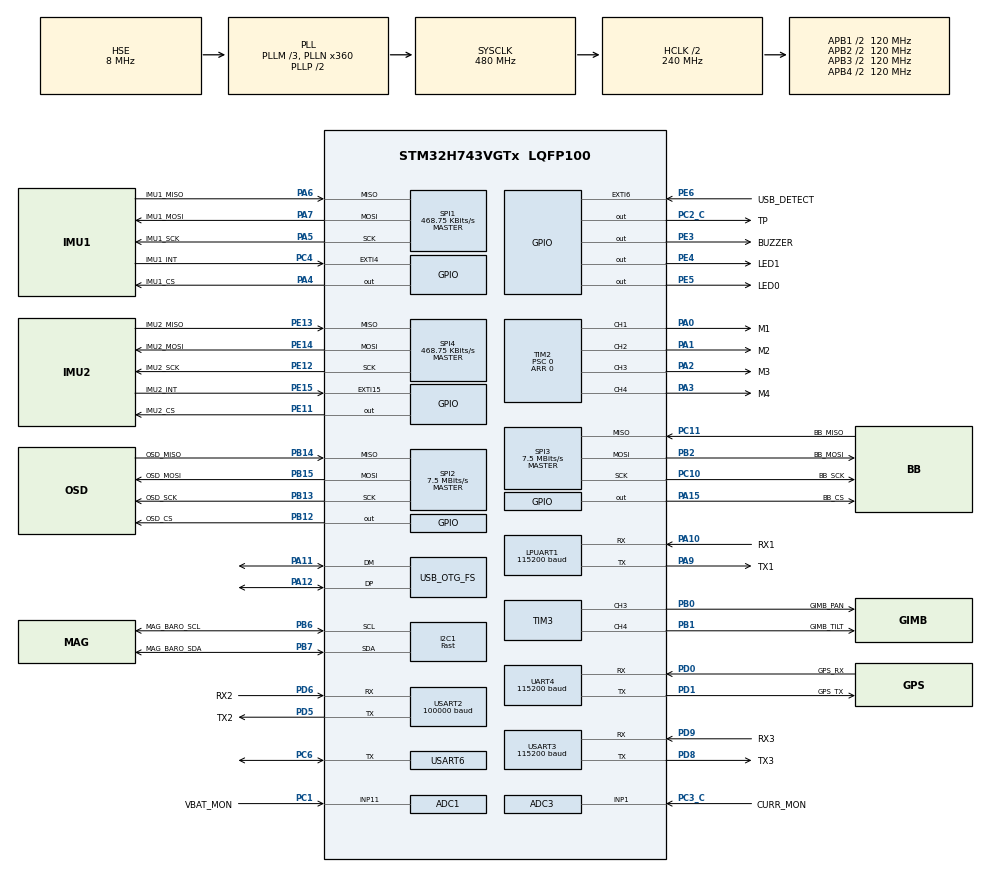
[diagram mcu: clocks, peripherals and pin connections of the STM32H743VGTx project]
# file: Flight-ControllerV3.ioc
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ADC1.Channel-1\#ChannelRegularConversion=ADC_CHANNEL_11
ADC1.ContinuousConvMode=DISABLE
ADC1.ExternalTrigConv=ADC_EXTERNALTRIG_T15_TRGO
ADC1.NbrOfConversionFlag=1
ADC1.OffsetNumber-1\#ChannelRegularConversion=ADC_OFFSET_NONE
ADC1.OffsetSignedSaturation-1\#ChannelRegularConversion=DISABLE
ADC1.Rank-1\#ChannelRegularConversion=1
ADC1.SamplingTime-1\#ChannelRegularConversion=ADC_SAMPLETIME_387CYCLES_5
ADC1.master=1
ADC3.Channel-0\#ChannelRegularConversion=ADC_CHANNEL_1
ADC3.ClockPrescalerADC3=ADC_CLOCK_ASYNC_DIV1
ADC3.ContinuousConvMode=DISABLE
ADC3.ConversionDataManagement=ADC_CONVERSIONDATA_DMA_CIRCULAR
ADC3.ExternalTrigConv=ADC_EXTERNALTRIG_T6_TRGO
ADC3.ExternalTrigConvEdge=ADC_EXTERNALTRIGCONVEDGE_RISING
ADC3.InjectedDiscontinuousConvMode-ADC_Injected_ConversionMode=ENABLE
ADC3.NbrOfConversion=1
ADC3.NbrOfConversionFlag=1
ADC3.OffsetNumber-0\#ChannelRegularConversion=ADC_OFFSET_NONE
ADC3.OffsetSignedSaturation-0\#ChannelRegularConversion=DISABLE
ADC3.Rank-0\#ChannelRegularConversion=1
ADC3.SamplingTime-0\#ChannelRegularConversion=ADC_SAMPLETIME_387CYCLES_5
Bdma.ADC3.0.Direction=DMA_PERIPH_TO_MEMORY
Bdma.ADC3.0.EventEnable=DISABLE
Bdma.ADC3.0.Instance=BDMA_Channel0
Bdma.ADC3.0.MemDataAlignment=DMA_MDATAALIGN_WORD
Bdma.ADC3.0.MemInc=DMA_MINC_ENABLE
Bdma.ADC3.0.Mode=DMA_CIRCULAR
Bdma.ADC3.0.PeriphDataAlignment=DMA_PDATAALIGN_WORD
Bdma.ADC3.0.PeriphInc=DMA_PINC_DISABLE
Bdma.ADC3.0.Polarity=HAL_DMAMUX_REQ_GEN_RISING
Bdma.ADC3.0.Priority=DMA_PRIORITY_HIGH
Bdma.ADC3.0.RequestNumber=1
Bdma.ADC3.0.SignalID=NONE
Bdma.ADC3.0.SyncEnable=DISABLE
Bdma.ADC3.0.SyncPolarity=HAL_DMAMUX_SYNC_NO_EVENT
Bdma.ADC3.0.SyncRequestNumber=1
Bdma.ADC3.0.SyncSignalID=NONE
Bdma.Request0=ADC3
Bdma.RequestsNb=1
Dma.Request0=TIM2_CH1
Dma.Request1=TIM2_CH2
Dma.Request2=TIM2_CH3
Dma.Request3=TIM2_CH4
Dma.Request4=UART4_TX
Dma.Request5=UART4_RX
Dma.Request6=USART3_TX
Dma.Request7=USART3_RX
Dma.TIM2_CH1.0.Direction=DMA_MEMORY_TO_PERIPH
Dma.TIM2_CH1.0.EventEnable=DISABLE
Dma.TIM2_CH1.0.FIFOMode=DMA_FIFOMODE_ENABLE
Dma.TIM2_CH1.0.FIFOThreshold=DMA_FIFO_THRESHOLD_1QUARTERFULL
Dma.TIM2_CH1.0.Instance=DMA1_Stream0
Dma.TIM2_CH1.0.MemBurst=DMA_MBURST_SINGLE
Dma.TIM2_CH1.0.MemDataAlignment=DMA_MDATAALIGN_WORD
Dma.TIM2_CH1.0.MemInc=DMA_MINC_ENABLE
Dma.TIM2_CH1.0.Mode=DMA_NORMAL
Dma.TIM2_CH1.0.PeriphBurst=DMA_PBURST_SINGLE
Dma.TIM2_CH1.0.PeriphDataAlignment=DMA_PDATAALIGN_WORD
Dma.TIM2_CH1.0.PeriphInc=DMA_PINC_DISABLE
Dma.TIM2_CH1.0.Polarity=HAL_DMAMUX_REQ_GEN_RISING
Dma.TIM2_CH1.0.Priority=DMA_PRIORITY_VERY_HIGH
Dma.TIM2_CH1.0.RequestNumber=1
Dma.TIM2_CH1.0.SignalID=NONE
Dma.TIM2_CH1.0.SyncEnable=DISABLE
Dma.TIM2_CH1.0.SyncPolarity=HAL_DMAMUX_SYNC_NO_EVENT
Dma.TIM2_CH1.0.SyncRequestNumber=1
Dma.TIM2_CH1.0.SyncSignalID=NONE
Dma.TIM2_CH2.1.Direction=DMA_MEMORY_TO_PERIPH
Dma.TIM2_CH2.1.EventEnable=DISABLE
Dma.TIM2_CH2.1.FIFOMode=DMA_FIFOMODE_ENABLE
Dma.TIM2_CH2.1.FIFOThreshold=DMA_FIFO_THRESHOLD_1QUARTERFULL
Dma.TIM2_CH2.1.Instance=DMA1_Stream1
Dma.TIM2_CH2.1.MemBurst=DMA_MBURST_SINGLE
Dma.TIM2_CH2.1.MemDataAlignment=DMA_MDATAALIGN_WORD
Dma.TIM2_CH2.1.MemInc=DMA_MINC_ENABLE
Dma.TIM2_CH2.1.Mode=DMA_NORMAL
Dma.TIM2_CH2.1.PeriphBurst=DMA_PBURST_SINGLE
Dma.TIM2_CH2.1.PeriphDataAlignment=DMA_PDATAALIGN_WORD
Dma.TIM2_CH2.1.PeriphInc=DMA_PINC_DISABLE
Dma.TIM2_CH2.1.Polarity=HAL_DMAMUX_REQ_GEN_RISING
Dma.TIM2_CH2.1.Priority=DMA_PRIORITY_VERY_HIGH
Dma.TIM2_CH2.1.RequestNumber=1
Dma.TIM2_CH2.1.SignalID=NONE
Dma.TIM2_CH2.1.SyncEnable=DISABLE
Dma.TIM2_CH2.1.SyncPolarity=HAL_DMAMUX_SYNC_NO_EVENT
Dma.TIM2_CH2.1.SyncRequestNumber=1
Dma.TIM2_CH2.1.SyncSignalID=NONE
Dma.TIM2_CH3.2.Direction=DMA_MEMORY_TO_PERIPH
Dma.TIM2_CH3.2.EventEnable=DISABLE
Dma.TIM2_CH3.2.FIFOMode=DMA_FIFOMODE_ENABLE
Dma.TIM2_CH3.2.FIFOThreshold=DMA_FIFO_THRESHOLD_1QUARTERFULL
Dma.TIM2_CH3.2.Instance=DMA1_Stream2
Dma.TIM2_CH3.2.MemBurst=DMA_MBURST_SINGLE
Dma.TIM2_CH3.2.MemDataAlignment=DMA_MDATAALIGN_WORD
Dma.TIM2_CH3.2.MemInc=DMA_MINC_ENABLE
Dma.TIM2_CH3.2.Mode=DMA_NORMAL
Dma.TIM2_CH3.2.PeriphBurst=DMA_PBURST_SINGLE
Dma.TIM2_CH3.2.PeriphDataAlignment=DMA_PDATAALIGN_WORD
Dma.TIM2_CH3.2.PeriphInc=DMA_PINC_DISABLE
Dma.TIM2_CH3.2.Polarity=HAL_DMAMUX_REQ_GEN_RISING
Dma.TIM2_CH3.2.Priority=DMA_PRIORITY_VERY_HIGH
Dma.TIM2_CH3.2.RequestNumber=1
Dma.TIM2_CH3.2.SignalID=NONE
Dma.TIM2_CH3.2.SyncEnable=DISABLE
Dma.TIM2_CH3.2.SyncPolarity=HAL_DMAMUX_SYNC_NO_EVENT
Dma.TIM2_CH3.2.SyncRequestNumber=1
Dma.TIM2_CH3.2.SyncSignalID=NONE
Dma.TIM2_CH4.3.Direction=DMA_MEMORY_TO_PERIPH
Dma.TIM2_CH4.3.EventEnable=DISABLE
Dma.TIM2_CH4.3.FIFOMode=DMA_FIFOMODE_ENABLE
Dma.TIM2_CH4.3.FIFOThreshold=DMA_FIFO_THRESHOLD_1QUARTERFULL
Dma.TIM2_CH4.3.Instance=DMA1_Stream3
Dma.TIM2_CH4.3.MemBurst=DMA_MBURST_SINGLE
Dma.TIM2_CH4.3.MemDataAlignment=DMA_MDATAALIGN_WORD
Dma.TIM2_CH4.3.MemInc=DMA_MINC_ENABLE
Dma.TIM2_CH4.3.Mode=DMA_NORMAL
Dma.TIM2_CH4.3.PeriphBurst=DMA_PBURST_SINGLE
Dma.TIM2_CH4.3.PeriphDataAlignment=DMA_PDATAALIGN_WORD
Dma.TIM2_CH4.3.PeriphInc=DMA_PINC_DISABLE
Dma.TIM2_CH4.3.Polarity=HAL_DMAMUX_REQ_GEN_RISING
Dma.TIM2_CH4.3.Priority=DMA_PRIORITY_VERY_HIGH
Dma.TIM2_CH4.3.RequestNumber=1
Dma.TIM2_CH4.3.SignalID=NONE
Dma.TIM2_CH4.3.SyncEnable=DISABLE
Dma.TIM2_CH4.3.SyncPolarity=HAL_DMAMUX_SYNC_NO_EVENT
Dma.TIM2_CH4.3.SyncRequestNumber=1
Dma.TIM2_CH4.3.SyncSignalID=NONE
Dma.UART4_RX.5.Direction=DMA_PERIPH_TO_MEMORY
Dma.UART4_RX.5.EventEnable=DISABLE
Dma.UART4_RX.5.FIFOMode=DMA_FIFOMODE_DISABLE
Dma.UART4_RX.5.Instance=DMA1_Stream4
Dma.UART4_RX.5.MemDataAlignment=DMA_MDATAALIGN_BYTE
Dma.UART4_RX.5.MemInc=DMA_MINC_ENABLE
Dma.UART4_RX.5.Mode=DMA_NORMAL
Dma.UART4_RX.5.PeriphDataAlignment=DMA_PDATAALIGN_BYTE
Dma.UART4_RX.5.PeriphInc=DMA_PINC_DISABLE
Dma.UART4_RX.5.Polarity=HAL_DMAMUX_REQ_GEN_RISING
Dma.UART4_RX.5.Priority=DMA_PRIORITY_LOW
Dma.UART4_RX.5.RequestNumber=1
Dma.UART4_RX.5.SignalID=NONE
Dma.UART4_RX.5.SyncEnable=DISABLE
Dma.UART4_RX.5.SyncPolarity=HAL_DMAMUX_SYNC_NO_EVENT
Dma.UART4_RX.5.SyncRequestNumber=1
Dma.UART4_RX.5.SyncSignalID=NONE
Dma.UART4_TX.4.Direction=DMA_MEMORY_TO_PERIPH
Dma.UART4_TX.4.EventEnable=DISABLE
Dma.UART4_TX.4.FIFOMode=DMA_FIFOMODE_DISABLE
Dma.UART4_TX.4.Instance=DMA1_Stream5
Dma.UART4_TX.4.MemDataAlignment=DMA_MDATAALIGN_BYTE
Dma.UART4_TX.4.MemInc=DMA_MINC_ENABLE
Dma.UART4_TX.4.Mode=DMA_NORMAL
Dma.UART4_TX.4.PeriphDataAlignment=DMA_PDATAALIGN_BYTE
Dma.UART4_TX.4.PeriphInc=DMA_PINC_DISABLE
Dma.UART4_TX.4.Polarity=HAL_DMAMUX_REQ_GEN_RISING
Dma.UART4_TX.4.Priority=DMA_PRIORITY_LOW
Dma.UART4_TX.4.RequestNumber=1
Dma.UART4_TX.4.SignalID=NONE
Dma.UART4_TX.4.SyncEnable=DISABLE
Dma.UART4_TX.4.SyncPolarity=HAL_DMAMUX_SYNC_NO_EVENT
Dma.UART4_TX.4.SyncRequestNumber=1
Dma.UART4_TX.4.SyncSignalID=NONE
Dma.USART3_RX.7.Direction=DMA_PERIPH_TO_MEMORY
Dma.USART3_RX.7.EventEnable=DISABLE
Dma.USART3_RX.7.FIFOMode=DMA_FIFOMODE_DISABLE
Dma.USART3_RX.7.Instance=DMA1_Stream7
Dma.USART3_RX.7.MemDataAlignment=DMA_MDATAALIGN_BYTE
Dma.USART3_RX.7.MemInc=DMA_MINC_ENABLE
Dma.USART3_RX.7.Mode=DMA_NORMAL
Dma.USART3_RX.7.PeriphDataAlignment=DMA_PDATAALIGN_BYTE
Dma.USART3_RX.7.PeriphInc=DMA_PINC_DISABLE
Dma.USART3_RX.7.Polarity=HAL_DMAMUX_REQ_GEN_RISING
Dma.USART3_RX.7.Priority=DMA_PRIORITY_VERY_HIGH
Dma.USART3_RX.7.RequestNumber=1
Dma.USART3_RX.7.SignalID=NONE
Dma.USART3_RX.7.SyncEnable=DISABLE
Dma.USART3_RX.7.SyncPolarity=HAL_DMAMUX_SYNC_NO_EVENT
Dma.USART3_RX.7.SyncRequestNumber=1
Dma.USART3_RX.7.SyncSignalID=NONE
Dma.USART3_TX.6.Direction=DMA_MEMORY_TO_PERIPH
Dma.USART3_TX.6.EventEnable=DISABLE
Dma.USART3_TX.6.FIFOMode=DMA_FIFOMODE_DISABLE
Dma.USART3_TX.6.Instance=DMA1_Stream6
Dma.USART3_TX.6.MemDataAlignment=DMA_MDATAALIGN_BYTE
Dma.USART3_TX.6.MemInc=DMA_MINC_ENABLE
Dma.USART3_TX.6.Mode=DMA_NORMAL
Dma.USART3_TX.6.PeriphDataAlignment=DMA_PDATAALIGN_BYTE
Dma.USART3_TX.6.PeriphInc=DMA_PINC_DISABLE
Dma.USART3_TX.6.Polarity=HAL_DMAMUX_REQ_GEN_RISING
Dma.USART3_TX.6.Priority=DMA_PRIORITY_VERY_HIGH
Dma.USART3_TX.6.RequestNumber=1
Dma.USART3_TX.6.SignalID=NONE
Dma.USART3_TX.6.SyncEnable=DISABLE
Dma.USART3_TX.6.SyncPolarity=HAL_DMAMUX_SYNC_NO_EVENT
Dma.USART3_TX.6.SyncRequestNumber=1
Dma.USART3_TX.6.SyncSignalID=NONE
I2C1.I2C_Speed_Mode=I2C_Fast
I2C1.Speed=400
I2C1.Timing=0x00100413
LPUART1.BaudRate=115200
LPUART1.SwapParam=UART_ADVFEATURE_SWAP_DISABLE
Mcu.Family=STM32H7
Mcu.Name=STM32H743VGTx
Mcu.Package=LQFP100
NVIC.ADC3_IRQn=true\:0\:0\:false\:false\:true\:true\:true\:true
NVIC.ADC_IRQn=true\:0\:0\:false\:false\:true\:true\:true\:true
NVIC.BDMA_Channel0_IRQn=true\:0\:0\:false\:false\:true\:false\:true\:true
NVIC.DMA1_Stream0_IRQn=true\:0\:0\:false\:false\:true\:false\:true\:true
NVIC.DMA1_Stream1_IRQn=true\:0\:0\:false\:false\:true\:false\:true\:true
NVIC.DMA1_Stream2_IRQn=true\:0\:0\:false\:false\:true\:false\:true\:true
NVIC.DMA1_Stream3_IRQn=true\:0\:0\:false\:false\:true\:false\:true\:true
NVIC.DMA1_Stream4_IRQn=true\:0\:0\:false\:false\:true\:false\:true\:true
NVIC.DMA1_Stream5_IRQn=true\:0\:0\:false\:false\:true\:false\:true\:true
NVIC.DMA1_Stream6_IRQn=true\:0\:0\:false\:false\:true\:false\:true\:true
NVIC.DMA1_Stream7_IRQn=true\:0\:0\:false\:false\:true\:false\:true\:true
NVIC.LPUART1_IRQn=true\:0\:0\:false\:false\:true\:true\:true\:true
NVIC.OTG_FS_IRQn=true\:0\:0\:false\:false\:true\:false\:true\:true
NVIC.PriorityGroup=NVIC_PRIORITYGROUP_4
NVIC.TIM1_UP_IRQn=true\:15\:0\:false\:false\:true\:false\:true\:true
NVIC.TIM3_IRQn=true\:0\:0\:false\:false\:true\:true\:true\:true
NVIC.TIM5_IRQn=true\:0\:0\:false\:false\:true\:true\:true\:true
NVIC.TimeBase=TIM1_UP_IRQn
NVIC.TimeBaseIP=TIM1
NVIC.UART4_IRQn=true\:0\:0\:false\:false\:true\:true\:true\:true
NVIC.USART2_IRQn=true\:0\:0\:false\:false\:true\:true\:true\:true
NVIC.USART3_IRQn=true\:0\:0\:false\:false\:true\:true\:true\:true
PA0.GPIO_Label=M1
PA0.PinAttribute=Free
PA0.Signal=S_TIM2_CH1_ETR
PA1.GPIO_Label=M2
PA1.PinAttribute=Free
PA1.Signal=S_TIM2_CH2
PA10.GPIO_Label=RX1
PA10.GPIO_Speed=GPIO_SPEED_FREQ_HIGH
PA10.Mode=Asynchronous
PA10.PinAttribute=Free
PA10.Signal=LPUART1_RX
PA11.Mode=Device_Only
PA11.Signal=USB_OTG_FS_DM
PA12.Mode=Device_Only
PA12.Signal=USB_OTG_FS_DP
PA13\ (JTMS/SWDIO).Mode=Serial_Wire
PA13\ (JTMS/SWDIO).PinAttribute=Free
PA13\ (JTMS/SWDIO).Signal=DEBUG_JTMS-SWDIO
PA14\ (JTCK/SWCLK).Mode=Serial_Wire
PA14\ (JTCK/SWCLK).PinAttribute=Free
PA14\ (JTCK/SWCLK).Signal=DEBUG_JTCK-SWCLK
PA15\ (JTDI).GPIO_Label=BB_CS
PA15\ (JTDI).PinAttribute=Free
PA15\ (JTDI).Signal=GPIO_Output
PA2.GPIO_Label=M3
PA2.PinAttribute=Free
PA2.Signal=S_TIM2_CH3
PA3.GPIO_Label=M4
PA3.PinAttribute=Free
PA3.Signal=S_TIM2_CH4
PA4.GPIO_Label=IMU1_CS
PA4.PinAttribute=Free
PA4.Signal=GPIO_Output
PA5.GPIO_Label=IMU1_SCK
PA5.GPIO_Speed=GPIO_SPEED_FREQ_VERY_HIGH
PA5.Mode=Full_Duplex_Master
PA5.PinAttribute=Free
PA5.Signal=SPI1_SCK
PA6.GPIO_Label=IMU1_MISO
PA6.GPIO_Speed=GPIO_SPEED_FREQ_VERY_HIGH
PA6.Mode=Full_Duplex_Master
PA6.PinAttribute=Free
PA6.Signal=SPI1_MISO
PA7.GPIO_Label=IMU1_MOSI
PA7.GPIO_Speed=GPIO_SPEED_FREQ_VERY_HIGH
PA7.Mode=Full_Duplex_Master
PA7.PinAttribute=Free
PA7.Signal=SPI1_MOSI
PA9.GPIO_Label=TX1
PA9.GPIO_Speed=GPIO_SPEED_FREQ_HIGH
PA9.Mode=Asynchronous
PA9.PinAttribute=Free
PA9.Signal=LPUART1_TX
PB0.GPIO_Label=GIMB_PAN
PB0.PinAttribute=Free
PB0.Signal=S_TIM3_CH3
PB1.GPIO_Label=GIMB_TILT
PB1.PinAttribute=Free
PB1.Signal=S_TIM3_CH4
PB12.GPIO_Label=OSD_CS
PB12.PinAttribute=Free
PB12.Signal=GPIO_Output
PB13.GPIO_Label=OSD_SCK
PB13.GPIO_Speed=GPIO_SPEED_FREQ_VERY_HIGH
PB13.Mode=Full_Duplex_Master
PB13.PinAttribute=Free
PB13.Signal=SPI2_SCK
PB14.GPIO_Label=OSD_MISO
PB14.GPIO_Speed=GPIO_SPEED_FREQ_VERY_HIGH
PB14.Mode=Full_Duplex_Master
PB14.PinAttribute=Free
PB14.Signal=SPI2_MISO
PB15.GPIO_Label=OSD_MOSI
PB15.GPIO_Speed=GPIO_SPEED_FREQ_VERY_HIGH
PB15.Mode=Full_Duplex_Master
PB15.PinAttribute=Free
PB15.Signal=SPI2_MOSI
PB2.GPIO_Label=BB_MOSI
PB2.GPIO_Speed=GPIO_SPEED_FREQ_VERY_HIGH
PB2.Mode=Full_Duplex_Master
PB2.PinAttribute=Free
PB2.Signal=SPI3_MOSI
PB6.GPIO_Label=MAG_BARO_SCL
PB6.GPIO_Pu=GPIO_PULLUP
PB6.GPIO_Speed=GPIO_SPEED_FREQ_HIGH
PB6.Mode=I2C
PB6.Signal=I2C1_SCL
PB7.GPIO_Label=MAG_BARO_SDA
PB7.GPIO_Pu=GPIO_PULLUP
PB7.GPIO_Speed=GPIO_SPEED_FREQ_HIGH
PB7.Mode=I2C
PB7.Signal=I2C1_SDA
PC1.GPIO_Label=VBAT_MON
PC1.Signal=ADCx_INP11
PC10.GPIO_Label=BB_SCK
PC10.GPIO_Speed=GPIO_SPEED_FREQ_VERY_HIGH
PC10.Mode=Full_Duplex_Master
PC10.PinAttribute=Free
PC10.Signal=SPI3_SCK
PC11.GPIO_Label=BB_MISO
PC11.GPIO_Speed=GPIO_SPEED_FREQ_VERY_HIGH
PC11.Mode=Full_Duplex_Master
PC11.PinAttribute=Free
PC11.Signal=SPI3_MISO
PC2_C.GPIO_Label=TP
PC2_C.PinAttribute=Free
PC2_C.Signal=GPIO_Output
PC3_C.GPIO_Label=CURR_MON
PC3_C.Mode=IN1-Single-Ended
PC3_C.PinAttribute=Free
PC3_C.Signal=ADC3_INP1
PC4.GPIO_Label=IMU1_INT
PC4.PinAttribute=Free
PC4.Signal=GPXTI4
PC6.Mode=Half_duplex(single_wire_mode)
PC6.Signal=USART6_TX
PD0.GPIO_Label=GPS_RX
PD0.GPIO_Speed=GPIO_SPEED_FREQ_HIGH
PD0.Mode=Asynchronous
PD0.PinAttribute=Free
PD0.Signal=UART4_RX
PD1.GPIO_Label=GPS_TX
PD1.GPIO_Speed=GPIO_SPEED_FREQ_HIGH
PD1.Mode=Asynchronous
PD1.PinAttribute=Free
PD1.Signal=UART4_TX
PD5.GPIO_Label=TX2
PD5.Mode=Asynchronous
PD5.PinAttribute=Free
PD5.Signal=USART2_TX
PD6.GPIO_Label=RX2
PD6.Mode=Asynchronous
PD6.PinAttribute=Free
PD6.Signal=USART2_RX
PD8.GPIO_Label=TX3
PD8.GPIO_Speed=GPIO_SPEED_FREQ_HIGH
PD8.Mode=Asynchronous
PD8.PinAttribute=Free
PD8.Signal=USART3_TX
PD9.GPIO_Label=RX3
PD9.GPIO_Speed=GPIO_SPEED_FREQ_HIGH
PD9.Mode=Asynchronous
PD9.PinAttribute=Free
PD9.Signal=USART3_RX
PE11.GPIO_Label=IMU2_CS
PE11.PinAttribute=Free
PE11.Signal=GPIO_Output
PE12.GPIO_Label=IMU2_SCK
PE12.GPIO_Speed=GPIO_SPEED_FREQ_VERY_HIGH
PE12.Mode=Full_Duplex_Master
PE12.PinAttribute=Free
PE12.Signal=SPI4_SCK
PE13.GPIO_Label=IMU2_MISO
PE13.GPIO_Speed=GPIO_SPEED_FREQ_VERY_HIGH
PE13.Mode=Full_Duplex_Master
PE13.PinAttribute=Free
PE13.Signal=SPI4_MISO
PE14.GPIO_Label=IMU2_MOSI
PE14.GPIO_Speed=GPIO_SPEED_FREQ_VERY_HIGH
PE14.Mode=Full_Duplex_Master
PE14.PinAttribute=Free
PE14.Signal=SPI4_MOSI
PE15.GPIO_Label=IMU2_INT
PE15.PinAttribute=Free
PE15.Signal=GPXTI15
PE3.GPIO_Label=BUZZER
PE3.PinAttribute=Free
PE3.Signal=GPIO_Output
PE4.GPIO_Label=LED1
PE4.PinAttribute=Free
PE4.Signal=GPIO_Output
PE5.GPIO_Label=LED0
PE5.PinAttribute=Free
PE5.Signal=GPIO_Output
PE6.GPIO_Label=USB_DETECT
PE6.PinAttribute=Free
PE6.Signal=GPXTI6
PH0-OSC_IN\ (PH0).Mode=HSE-External-Oscillator
PH0-OSC_IN\ (PH0).PinAttribute=Free
PH0-OSC_IN\ (PH0).Signal=RCC_OSC_IN
PH1-OSC_OUT\ (PH1).Mode=HSE-External-Oscillator
PH1-OSC_OUT\ (PH1).PinAttribute=Free
PH1-OSC_OUT\ (PH1).Signal=RCC_OSC_OUT
ProjectManager.HeapSize=0x800
ProjectManager.StackSize=0x800
ProjectManager.TargetToolchain=STM32CubeIDE
RCC.ADCCLockSelection=RCC_ADCCLKSOURCE_PLL3
RCC.ADCFreq_Value=12000000
RCC.APB1Freq_Value=120000000
RCC.APB2Freq_Value=120000000
RCC.APB3Freq_Value=120000000
RCC.APB4Freq_Value=120000000
RCC.CECCLockSelection=RCC_CECCLKSOURCE_LSI
RCC.CKPERSourceSelection=RCC_CLKPSOURCE_HSI
RCC.CSI_VALUE=4000000
RCC.CortexFreq_Value=480000000
RCC.Cortex_Div=SYSTICK_CLKSOURCE_HCLK
RCC.Cortex_DivARG=SystemCoreClock/1000
RCC.D1PPRE=RCC_APB3_DIV2
RCC.D2PPRE1=RCC_APB1_DIV2
RCC.D2PPRE2=RCC_APB2_DIV2
RCC.D3PPRE=RCC_APB4_DIV2
RCC.DFSDMCLockSelection=RCC_DFSDM1CLKSOURCE_D2PCLK1
RCC.DIVM1=3
RCC.DIVM2=3
RCC.DIVM3=3
RCC.DIVN1=360
RCC.DIVN2=360
RCC.DIVN3=360
RCC.DIVP2=10
RCC.DIVP3=20
RCC.DIVQ1=8
RCC.DIVQ2=10
RCC.DIVQ3=8
RCC.DIVR3=80
RCC.DSICLockSelection=RCC_DSICLKSOURCE_PHY
RCC.DSIPHY_Div=8
RCC.DSITX_Div=4
RCC.DSI_PHY_VALUE=12288000
RCC.EXTERNAL_CLOCK_VALUE=12288000
RCC.EnbaleCSS=false
RCC.FDCANCLockSelection=RCC_FDCANCLKSOURCE_PLL
RCC.FLatency-AdvancedSettings=FLASH_LATENCY_0
RCC.FMCCLockSelection=RCC_FMCCLKSOURCE_D1HCLK
RCC.HCLKFreq_Value=240000000
RCC.HPRE=RCC_HCLK_DIV2
RCC.HSE_Timout=5000
RCC.HSE_VALUE=8000000
RCC.HSIDiv=RCC_PLLSAIDIVR_1
RCC.HSI_VALUE=64000000
RCC.I2C123CLockSelection=RCC_I2C123CLKSOURCE_PLL3
RCC.I2C4CLockSelection=RCC_I2C4CLKSOURCE_D3PCLK1
RCC.LPTIM1CLockSelection=RCC_LPTIM1CLKSOURCE_D2PCLK1
RCC.LPTIM2CLockSelection=RCC_LPTIM2CLKSOURCE_D3PCLK1
RCC.LPTIM345CLockSelection=RCC_LPTIM345CLKSOURCE_D3PCLK1
RCC.LPUART1CLockSelection=RCC_LPUART1CLKSOURCE_PLL2
RCC.PLL1_VCI_Range-AdvancedSettings=RCC_PLL1VCIRANGE_0
RCC.PLL1_VCO_SEL-AdvancedSettings=RCC_PLL1VCOMEDIUM
RCC.PLL2FRACN=0
RCC.PLL2_VCI_Range-AdvancedSettings=RCC_PLL2VCIRANGE_3
RCC.PLL2_VCO_SEL-AdvancedSettings=RCC_PLL2VCOWIDE
RCC.PLL3FRACN=0
RCC.PLL3_VCI_Range-AdvancedSettings=RCC_PLL3VCIRANGE_1
RCC.PLL3_VCO_SEL-AdvancedSettings=RCC_PLL3VCOMEDIUM
RCC.PLLDSIDev=2
RCC.PLLDSIIDF=DSI_PLL_IN_DIV1
RCC.PLLDSIMult=2
RCC.PLLDSINDIV=20
RCC.PLLDSIODF=DSI_PLL_OUT_DIV1
RCC.PLLFRACN=0
RCC.PLLSourceVirtual=RCC_PLLSOURCE_HSE
RCC.PWR_Regulator_Voltage_Scale=PWR_REGULATOR_VOLTAGE_SCALE0
RCC.ProductRev=revV
RCC.QSPICLockSelection=RCC_QSPICLKSOURCE_D1HCLK
RCC.RC48_VALUE=48000000
RCC.RCC_MCO1Source=RCC_MCO1SOURCE_HSI
RCC.RCC_MCO2Source=RCC_MCO2SOURCE_SYSCLK
RCC.RCC_TIM_PRescaler_Selection=RCC_TIMPRES_ACTIVATED
RCC.RNGCLockSelection=RCC_RNGCLKSOURCE_HSI48
RCC.SAI1CLockSelection=RCC_SAI1CLKSOURCE_PLL
RCC.SAI23CLockSelection=RCC_SAI23CLKSOURCE_PLL
RCC.SAI4ACLockSelection=RCC_SAI4ACLKSOURCE_PLL
RCC.SAI4BCLockSelection=RCC_SAI4BCLKSOURCE_PLL
RCC.SPDIFCLockSelection=RCC_SPDIFRXCLKSOURCE_PLL
RCC.SPI6CLockSelection=RCC_SPI6CLKSOURCE_D3PCLK1
RCC.SWPCLockSelection=RCC_SWPMI1CLKSOURCE_D2PCLK1
RCC.SYSCLKFreq_VALUE=480000000
RCC.SYSCLKSource=RCC_SYSCLKSOURCE_PLLCLK
RCC.Spi45ClockSelection=RCC_SPI45CLKSOURCE_PLL3
RCC.USART16CLockSelection=RCC_USART16CLKSOURCE_D2PCLK2
RCC.USART234578CLockSelection=RCC_USART234578CLKSOURCE_PLL3
RCC.USBCLockSelection=RCC_USBCLKSOURCE_HSI48
RCC.USBFreq_Value=48000000
SH.ADCx_INP11.0=ADC3_INP11
SH.ADCx_INP11.1=ADC1_INP11,IN11-Single-Ended
SH.S_TIM2_CH1_ETR.0=TIM2_CH1,PWM Generation1 CH1
SH.S_TIM2_CH2.0=TIM2_CH2,PWM Generation2 CH2
SH.S_TIM2_CH3.0=TIM2_CH3,PWM Generation3 CH3
SH.S_TIM2_CH4.0=TIM2_CH4,PWM Generation4 CH4
SH.S_TIM3_CH3.0=TIM3_CH3,PWM Generation3 CH3
SH.S_TIM3_CH4.0=TIM3_CH4,PWM Generation4 CH4
SPI1.BaudRatePrescaler=SPI_BAUDRATEPRESCALER_256
SPI1.CalculateBaudRate=468.75 KBits/s
SPI1.DataSize=SPI_DATASIZE_8BIT
SPI1.Direction=SPI_DIRECTION_2LINES
SPI1.Mode=SPI_MODE_MASTER
SPI1.VirtualType=VM_MASTER
SPI2.BaudRatePrescaler=SPI_BAUDRATEPRESCALER_16
SPI2.CalculateBaudRate=7.5 MBits/s
SPI2.DataSize=SPI_DATASIZE_8BIT
SPI2.Direction=SPI_DIRECTION_2LINES
SPI2.Mode=SPI_MODE_MASTER
SPI2.VirtualType=VM_MASTER
SPI3.BaudRatePrescaler=SPI_BAUDRATEPRESCALER_16
SPI3.CalculateBaudRate=7.5 MBits/s
SPI3.DataSize=SPI_DATASIZE_8BIT
SPI3.Direction=SPI_DIRECTION_2LINES
SPI3.Mode=SPI_MODE_MASTER
SPI3.VirtualType=VM_MASTER
SPI4.BaudRatePrescaler=SPI_BAUDRATEPRESCALER_256
SPI4.CalculateBaudRate=468.75 KBits/s
SPI4.DataSize=SPI_DATASIZE_8BIT
SPI4.Direction=SPI_DIRECTION_2LINES
SPI4.Mode=SPI_MODE_MASTER
SPI4.VirtualType=VM_MASTER
TIM15.Period=50000-1
TIM15.Prescaler=2400-1
TIM15.TIM_MasterOutputTrigger=TIM_TRGO_UPDATE
TIM2.Channel-PWM\ Generation1\ CH1=TIM_CHANNEL_1
TIM2.Channel-PWM\ Generation2\ CH2=TIM_CHANNEL_2
TIM2.Channel-PWM\ Generation3\ CH3=TIM_CHANNEL_3
TIM2.Channel-PWM\ Generation4\ CH4=TIM_CHANNEL_4
TIM2.Period=0
TIM2.Prescaler=0
TIM3.Channel-PWM\ Generation3\ CH3=TIM_CHANNEL_3
TIM3.Channel-PWM\ Generation4\ CH4=TIM_CHANNEL_4
TIM5.ClockDivision=TIM_CLOCKDIVISION_DIV1
TIM5.Period=4294967295
TIM5.Prescaler=240
TIM6.Period=20000-1
TIM6.Prescaler=240-1
TIM6.TIM_MasterOutputTrigger=TIM_TRGO_UPDATE
UART4.AutoBaudRateEnableParam=UART_ADVFEATURE_AUTOBAUDRATE_DISABLE
UART4.BaudRate=115200
USART2.BaudRate=100000
USART2.DataInvertParam=ADVFEATURE_DATAINV_DISABLE
USART2.Mode=MODE_TX_RX
USART2.Parity=PARITY_EVEN
USART2.RxPinLevelInvertParam=ADVFEATURE_RXINV_ENABLE
USART2.StopBits=STOPBITS_2
USART2.VirtualMode-Asynchronous=VM_ASYNC
USART2.WordLength=WORDLENGTH_9B
USART3.BaudRate=115200
USART3.VirtualMode-Asynchronous=VM_ASYNC
USART6.BaudRate=9600
USART6.VirtualMode=VM_ASYNC
USB_DEVICE.CLASS_NAME_FS=CDC
USB_DEVICE.VirtualMode-CDC_FS=Cdc
USB_DEVICE.VirtualModeFS=Cdc_FS
USB_OTG_FS.VirtualMode=Device_Only
VP_ADC3_Vref_Input.Mode=IN-Vrefint
VP_MEMORYMAP_VS_MEMORYMAP.Mode=CurAppReg
VP_SYS_VS_tim1.Mode=TIM1
VP_TIM15_VS_ClockSourceINT.Mode=Internal
VP_TIM2_VS_ClockSourceINT.Mode=Internal
VP_TIM3_VS_ClockSourceINT.Mode=Internal
VP_TIM5_VS_ClockSourceINT.Mode=Internal
VP_TIM6_VS_ClockSourceINT.Mode=Enable_Timer
VP_USB_DEVICE_VS_USB_DEVICE_CDC_FS.Mode=CDC_FS
VREF+.Mode=InternalMode
VREF+.Signal=VREFBUF_OUT
board=custom

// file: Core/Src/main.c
/* USER CODE BEGIN Header */
/**
  ******************************************************************************
  * @file           : main.c
  * @brief          : Main program body
  ******************************************************************************
  * @attention
  *
  * Copyright (c) 2024 STMicroelectronics.
  * All rights reserved.
  *
  * This software is licensed under terms that can be found in the LICENSE file
  * in the root directory of this software component.
  * If no LICENSE file comes with this software, it is provided AS-IS.
  *
  ******************************************************************************
  */
/* USER CODE END Header */
#include "main.h"
#include "adc.h"
#include "bdma.h"
#include "dma.h"
#include "i2c.h"
#include "usart.h"
#include "memorymap.h"
#include "spi.h"
#include "tim.h"
#include "usb_device.h"
#include "gpio.h"

/* USER CODE BEGIN Includes */
#include <appstart.h>
/* USER CODE END Includes */

void SystemClock_Config(void);
void PeriphCommonClock_Config(void);

int main(void)
{

  /* MCU Configuration--------------------------------------------------------*/

  /* Reset of all peripherals, Initializes the Flash interface and the Systick. */
  HAL_Init();

  /* Configure the system clock */
  SystemClock_Config();

  /* Configure the peripherals common clocks */
  PeriphCommonClock_Config();

  /* USER CODE BEGIN SysInit */
  HAL_Delay(100);
  /* USER CODE END SysInit */

  /* Initialize all configured peripherals */
  MX_GPIO_Init();
  MX_DMA_Init();
  MX_BDMA_Init();
  MX_SPI1_Init();
  MX_SPI2_Init();
  MX_SPI3_Init();
  MX_SPI4_Init();
  MX_TIM2_Init();
  MX_TIM3_Init();
  MX_UART4_Init();
  MX_TIM5_Init();
  MX_LPUART1_UART_Init();
  MX_USART2_UART_Init();
  MX_ADC3_Init();
  MX_USART3_UART_Init();
  MX_TIM6_Init();
  MX_ADC1_Init();
  MX_USB_DEVICE_Init();
  MX_I2C1_Init();
  MX_TIM15_Init();
  MX_USART6_UART_Init();
  /* USER CODE BEGIN 2 */

  __HAL_UART_DISABLE(&huart2);
  __HAL_UART_DISABLE_IT(&huart2, UART_IT_RXNE);  // Disable RXNE (Receive Not Empty) interrupt
  HAL_NVIC_DisableIRQ(USART2_IRQn);				 // Disable the USART2 interrupt in the NVIC

  __HAL_UART_DISABLE(&hlpuart1);
  __HAL_UART_DISABLE_IT(&hlpuart1, UART_IT_RXNE);  // Disable RXNE (Receive Not Empty) interrupt
  HAL_NVIC_DisableIRQ(LPUART1_IRQn);				 // Disable the USART2 interrupt in the NVIC

	  HAL_Devices_t halDevices = {
//		.debugUart 	= &huart4,
		.gpsUart	= &huart4,
		.imu1SPI 	= &hspi1,
		.imu2SPI 	= &hspi4,
		.osdSPI		= &hspi2,
		.bbxSPI		= &hspi3,
		.appTmr		= &htim5,
		.motorTmr	= &htim2,
		.i2cBus 	= &hi2c1,
		.sBus		= &huart2,
		.configUart	= &huart3,
		.optflwUart = &hlpuart1,
		.vtxUart	= &huart6,
	  };

	initApplication(&halDevices);

	runApplication();

  /* USER CODE END 2 */

  /* Infinite loop */
  while (1)
  {

  }
}

void SystemClock_Config(void)
{
  RCC_OscInitTypeDef RCC_OscInitStruct = {0};
  RCC_ClkInitTypeDef RCC_ClkInitStruct = {0};

  /** Supply configuration update enable
  */
  HAL_PWREx_ConfigSupply(PWR_LDO_SUPPLY);

  /** Configure the main internal regulator output voltage
  */
  __HAL_PWR_VOLTAGESCALING_CONFIG(PWR_REGULATOR_VOLTAGE_SCALE1);

  while(!__HAL_PWR_GET_FLAG(PWR_FLAG_VOSRDY)) {}

  __HAL_RCC_SYSCFG_CLK_ENABLE();
  __HAL_PWR_VOLTAGESCALING_CONFIG(PWR_REGULATOR_VOLTAGE_SCALE0);

  while(!__HAL_PWR_GET_FLAG(PWR_FLAG_VOSRDY)) {}

  /** Initializes the RCC Oscillators according to the specified parameters
  * in the RCC_OscInitTypeDef structure.
  */
  RCC_OscInitStruct.OscillatorType = RCC_OSCILLATORTYPE_HSI48|RCC_OSCILLATORTYPE_HSE;
  RCC_OscInitStruct.HSEState = RCC_HSE_ON;
  RCC_OscInitStruct.HSI48State = RCC_HSI48_ON;
  RCC_OscInitStruct.PLL.PLLState = RCC_PLL_ON;
  RCC_OscInitStruct.PLL.PLLSource = RCC_PLLSOURCE_HSE;
  RCC_OscInitStruct.PLL.PLLM = 3;
  RCC_OscInitStruct.PLL.PLLN = 360;
  RCC_OscInitStruct.PLL.PLLP = 2;
  RCC_OscInitStruct.PLL.PLLQ = 8;
  RCC_OscInitStruct.PLL.PLLR = 2;
  RCC_OscInitStruct.PLL.PLLRGE = RCC_PLL1VCIRANGE_1;
  RCC_OscInitStruct.PLL.PLLVCOSEL = RCC_PLL1VCOWIDE;
  RCC_OscInitStruct.PLL.PLLFRACN = 0;
  if (HAL_RCC_OscConfig(&RCC_OscInitStruct) != HAL_OK)
  {
    Error_Handler();
  }

  /** Initializes the CPU, AHB and APB buses clocks
  */
  RCC_ClkInitStruct.ClockType = RCC_CLOCKTYPE_HCLK|RCC_CLOCKTYPE_SYSCLK
                              |RCC_CLOCKTYPE_PCLK1|RCC_CLOCKTYPE_PCLK2
                              |RCC_CLOCKTYPE_D3PCLK1|RCC_CLOCKTYPE_D1PCLK1;
  RCC_ClkInitStruct.SYSCLKSource = RCC_SYSCLKSOURCE_PLLCLK;
  RCC_ClkInitStruct.SYSCLKDivider = RCC_SYSCLK_DIV1;
  RCC_ClkInitStruct.AHBCLKDivider = RCC_HCLK_DIV2;
  RCC_ClkInitStruct.APB3CLKDivider = RCC_APB3_DIV2;
  RCC_ClkInitStruct.APB1CLKDivider = RCC_APB1_DIV2;
  RCC_ClkInitStruct.APB2CLKDivider = RCC_APB2_DIV2;
  RCC_ClkInitStruct.APB4CLKDivider = RCC_APB4_DIV2;

  if (HAL_RCC_ClockConfig(&RCC_ClkInitStruct, FLASH_LATENCY_4) != HAL_OK)
  {
    Error_Handler();
  }
}

void PeriphCommonClock_Config(void)
{
  RCC_PeriphCLKInitTypeDef PeriphClkInitStruct = {0};

  /** Initializes the peripherals clock
  */
  PeriphClkInitStruct.PeriphClockSelection = RCC_PERIPHCLK_ADC|RCC_PERIPHCLK_I2C1
                              |RCC_PERIPHCLK_SPI4|RCC_PERIPHCLK_UART4
                              |RCC_PERIPHCLK_USART2|RCC_PERIPHCLK_TIM
                              |RCC_PERIPHCLK_USART3;
  PeriphClkInitStruct.PLL3.PLL3M = 3;
  PeriphClkInitStruct.PLL3.PLL3N = 360;
  PeriphClkInitStruct.PLL3.PLL3P = 20;
  PeriphClkInitStruct.PLL3.PLL3Q = 8;
  PeriphClkInitStruct.PLL3.PLL3R = 80;
  PeriphClkInitStruct.PLL3.PLL3RGE = RCC_PLL3VCIRANGE_1;
  PeriphClkInitStruct.PLL3.PLL3VCOSEL = RCC_PLL3VCOWIDE;
  PeriphClkInitStruct.PLL3.PLL3FRACN = 0;
  PeriphClkInitStruct.Spi45ClockSelection = RCC_SPI45CLKSOURCE_PLL3;
  PeriphClkInitStruct.Usart234578ClockSelection = RCC_USART234578CLKSOURCE_PLL3;
  PeriphClkInitStruct.I2c123ClockSelection = RCC_I2C123CLKSOURCE_PLL3;
  PeriphClkInitStruct.AdcClockSelection = RCC_ADCCLKSOURCE_PLL3;
  PeriphClkInitStruct.TIMPresSelection = RCC_TIMPRES_ACTIVATED;

  if (HAL_RCCEx_PeriphCLKConfig(&PeriphClkInitStruct) != HAL_OK)
  {
    Error_Handler();
  }
}

void HAL_TIM_PeriodElapsedCallback(TIM_HandleTypeDef *htim)
{
  if (htim->Instance == TIM1) {
    HAL_IncTick();
  }
}

void Error_Handler(void)
{
  __disable_irq();
  while (1)
  {
  }
}
